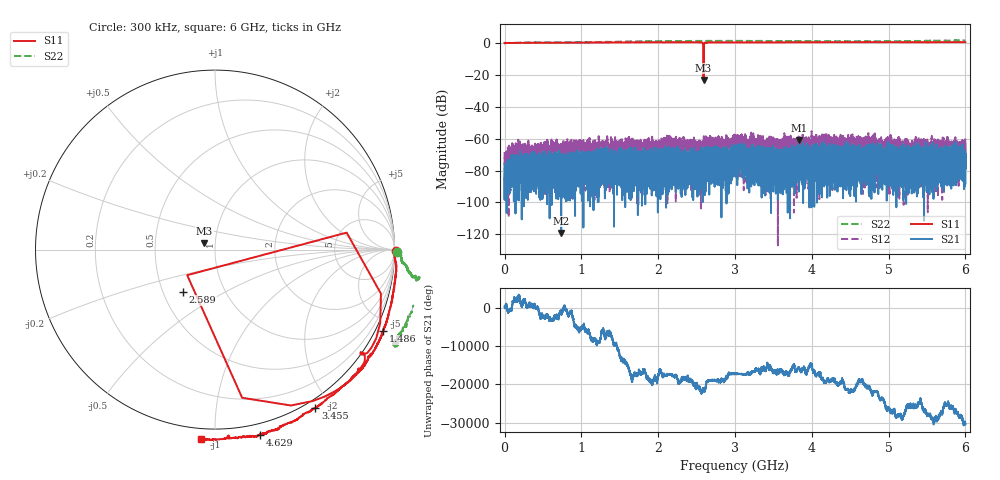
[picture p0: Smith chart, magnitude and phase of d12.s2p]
!Agilent Technologies,N5230C,SG49000117,A.08.50.07
!Agilent N5230C: A.08.50.07
!Date: Thursday, May 16, 2024 19:36:10
!Correction: S11(Full 2 Port(1,2))
!S21(Full 2 Port(1,2))
!S12(Full 2 Port(1,2))
!S22(Full 2 Port(1,2))
!S2P File: Measurements: S11, S21, S12, S22:
# Hz S  MA  R 50
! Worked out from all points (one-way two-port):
!   20001 points, 300 kHz to 6 GHz, reference 50 ohm
!   highest |S21| = -60.79 dB at 3.834 GHz (marker M1); lowest = -119.2 dB at 737.1 MHz (marker M2)
!   lowest |S11| = -23.2 dB at 2.59 GHz (marker M3), VSWR 1.15, Z = 44.3 + j3.27 ohm
!   |S11| at or under -10 dB: 2.589383 GHz to 2.591403 GHz (2.02 MHz wide, 0.078 % of centre)
!   |S22| runs from -0.3 to 1.6 dB; largest |S21 - S12| = 0.0018
!   S11 on the Smith chart (normalised r, x): 300 kHz: open; 1.486 GHz: -0.39, -4.32; 2.589 GHz: 0.63, -0.33; 3.455 GHz: -0.09, -1.81; 4.629 GHz: -0.08, -1.27; 6 GHz: -0.05, -0.93
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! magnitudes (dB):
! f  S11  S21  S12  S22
! 300 kHz  0.1  -76.1  -68.5  0.1
! 30.6 MHz  0.0  -89.8  -72.3  0.0
! 208.8 MHz  0.1  -72.8  -76.4  0.2
! 737.1 MHz  0.2  -119.2  -73.3  0.4
! 1 GHz  0.2  -72.3  -73.5  0.5
! 1.486 GHz  0.3  -79.2  -67.6  0.8
! 2 GHz  0.4  -82.5  -70.5  1.1
! 2.152 GHz  0.4  -78.5  -76.9  1.2
! 2.292 GHz  0.5  -88.8  -71.8  1.2
! 2.589 GHz  -10.6  -79.4  -74.2  1.3
! 2.59 GHz  -23.2  -72.1  -71.2  1.3
! 2.657 GHz  0.4  -74.5  -64.5  1.3
! 3 GHz  0.4  -71.6  -62.9  1.3
! 3.077 GHz  0.4  -67.6  -61.6  1.3
! 3.165 GHz  0.3  -68.9  -65.7  1.3
! 3.228 GHz  0.3  -63.9  -67.5  1.3
! 3.455 GHz  0.4  -86.4  -69.2  1.2
! 3.834 GHz  0.4  -60.8  -78.1  1.2
! 4 GHz  0.4  -66.5  -64.2  1.2
! 4.629 GHz  0.5  -75.4  -76.2  1.1
! 5 GHz  0.5  -70.0  -69.6  1.1
! 6 GHz  0.5  -74.8  -71.9  1.5
